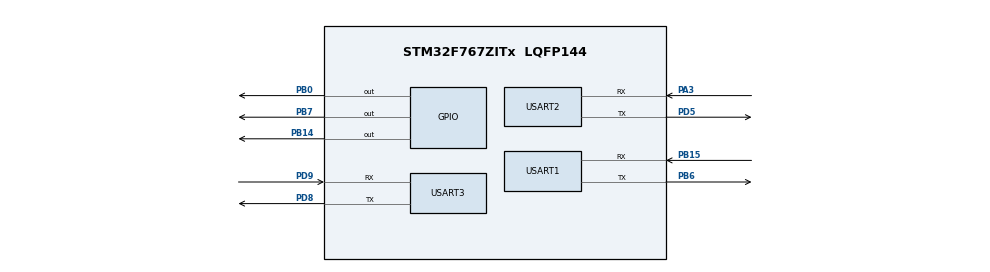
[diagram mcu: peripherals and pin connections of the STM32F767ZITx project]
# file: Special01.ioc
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CORTEX_M7.default_mode_Activation=1
Mcu.Family=STM32F7
Mcu.Name=STM32F767ZITx
Mcu.Package=LQFP144
NVIC.PriorityGroup=NVIC_PRIORITYGROUP_4
NVIC.USART1_IRQn=true\:0\:0\:false\:false\:true\:true\:true\:true
NVIC.USART2_IRQn=true\:0\:0\:false\:false\:true\:true\:true\:true
NVIC.USART3_IRQn=true\:0\:0\:false\:false\:true\:true\:true\:true
PA3.Mode=Asynchronous
PA3.Signal=USART2_RX
PB0.Signal=GPIO_Output
PB14.Signal=GPIO_Output
PB15.Mode=Asynchronous
PB15.Signal=USART1_RX
PB6.Mode=Asynchronous
PB6.Signal=USART1_TX
PB7.Signal=GPIO_Output
PD5.Mode=Asynchronous
PD5.Signal=USART2_TX
PD8.Mode=Asynchronous
PD8.Signal=USART3_TX
PD9.Mode=Asynchronous
PD9.Signal=USART3_RX
ProjectManager.HeapSize=0x200
ProjectManager.StackSize=0x400
ProjectManager.TargetToolchain=STM32CubeIDE
RCC.HSE_VALUE=25000000
RCC.HSI_VALUE=16000000
RCC.LSE_VALUE=32768
RCC.USBFreq_Value=96000000
RCC.VCOOutputFreq_Value=192000000
USART1.VirtualMode-Asynchronous=VM_ASYNC
USART2.VirtualMode-Asynchronous=VM_ASYNC
USART3.VirtualMode-Asynchronous=VM_ASYNC
board=custom

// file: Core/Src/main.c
/* USER CODE BEGIN Header */
/**
  ******************************************************************************
  * @file           : main.c
  * @brief          : Main program body
  ******************************************************************************
  * @attention
  *
  * Copyright (c) 2025 STMicroelectronics.
  * All rights reserved.
  *
  * This software is licensed under terms that can be found in the LICENSE file
  * in the root directory of this software component.
  * If no LICENSE file comes with this software, it is provided AS-IS.
  *
  ******************************************************************************
  */
/* USER CODE END Header */
#include "main.h"
#include "usart.h"
#include "gpio.h"

/* USER CODE BEGIN Includes */
#include <string.h>
#include <stdint.h>
#include <stdio.h>
uint8_t show_status = 0;
uint8_t RxData[100];
uint8_t inputstr [1];
uint8_t status = 1;
uint8_t showstr[100] = "";
//char showinstr[] = "Input :";
uint8_t recive_status = 1;
uint8_t transmit_status = 1;
uint8_t quit_mass[100] = "QUIT";
uint8_t setmyname_status = 0;
uint8_t setyourname_status = 0;
uint8_t Myname[100];
uint8_t Yourname[100];

/* USER CODE END Includes */

void SystemClock_Config(void);
static void MPU_Config(void);

/* USER CODE BEGIN 0 */
void HAL_UART_RxCpltCallback(UART_HandleTypeDef *huart) {
    if (status == 1) {
        if (recive_status == 1 && transmit_status == 0) {
            if (HAL_UART_Receive_IT(&huart1, RxData, 100) == HAL_OK) {
                if (strncmp((char *)RxData, "QUIT", 4) == 0) {  // ตรวจสอบว่าได้รับ "QUIT"
                    status = 0;  // ออกจากลูป
                    HAL_UART_Transmit(&huart3,"QUIT", 4, 1000);
                    return;
                }
                recive_status = 0;
                transmit_status = 1;
                setyourname_status += 1;
            }
        } else if (recive_status == 1 && transmit_status == 1) {
            if (HAL_UART_Receive_IT(&huart3, inputstr, 1) == HAL_OK) {
                Inputstr();
            }
        }
    }
}

void Inputstr(){
	HAL_UART_Transmit(&huart3,"\r", 2, 1000);
	showstatus();
	HAL_UART_Transmit(&huart3, showstr, 100, 1000);
	if(inputstr[0] == '\b'){
		showstr[strlen(showstr)-1] = '\000';
	}
	else if(inputstr[0] == '\r'){
		showstr[strlen(showstr)] = '\0';
		if(setmyname_status == 0){
			memcpy(Myname, showstr, sizeof(Myname));
			setmyname_status = 1;
		}
		HAL_UART_Transmit(&huart1,&showstr, 100, 100);
		HAL_UART_Transmit(&huart3,"\n\r", 2, 1000);
		memset(showstr, 0, sizeof(showstr));
		transmit_status = 0;
		show_status += 1;

	}
	else{
		HAL_UART_Transmit(&huart3,inputstr, 1, 1000);
		showstr[strlen(showstr)] = inputstr[0];
		if(showstr[0] == 'q'){
				HAL_UART_Transmit(&huart3,"\n\r", 2, 1000);
				HAL_UART_Transmit(&huart3,quit_mass,4, 1000);
				HAL_UART_Transmit(&huart1,quit_mass,100, 1000);
				status = 0;
		}
	//  HAL_UART_Transmit(&huart2, (uint8_t )&showstr, 1, 100);
	}

	memset(inputstr, 0, sizeof(inputstr));

}

void showstatus(){
	if(show_status == 0){
			HAL_UART_Transmit(&huart3,"Man From U.A.R.T.1!\n\r"
					  	  	  	  	  "Quit PRESS q \n\r", 35, 1000);
			show_status =1;
	}
	else if(show_status == 1){
			HAL_UART_Transmit(&huart3,"Name :", 6, 1000);
	}
	else if(show_status == 2){
			HAL_UART_Transmit(&huart3,Myname,100, 1000);
			HAL_UART_Transmit(&huart3," :", 2, 1000);

	}
	else if(show_status == 3){
			HAL_UART_Transmit(&huart3,Yourname,100, 1000);
			HAL_UART_Transmit(&huart3," :", 2, 1000);

	}
}

/* USER CODE END 0 */

int main(void)
{

  /* MPU Configuration--------------------------------------------------------*/
  MPU_Config();

  /* MCU Configuration--------------------------------------------------------*/

  /* Reset of all peripherals, Initializes the Flash interface and the Systick. */
  HAL_Init();

  /* Configure the system clock */
  SystemClock_Config();

  /* Initialize all configured peripherals */
  MX_GPIO_Init();
  MX_USART1_UART_Init();
  MX_USART2_UART_Init();
  MX_USART3_UART_Init();
  HAL_UART_Receive_IT(&huart1,RxData, 100);
  HAL_UART_Receive_IT(&huart3,inputstr, 1);

  /* Infinite loop */
  while (1)
  {

    /* USER CODE BEGIN 3 */

//	  HAL_UART_Receive(&huart1, RxData, 100, HAL_MAX_DELAY);
//	  HAL_UART_Transmit(&huart3, RxData, 100, HAL_MAX_DELAY);

//	  HAL_UART_Transmit(&huart1, (uint8_t *)".", 1, 100);
	  if(show_status == 0){
		  showstatus();
		  if(transmit_status == 1){
			  Inputstr();
		  }
	  }
	  if (recive_status == 0){
		  if(setyourname_status == 1){
			  memcpy(Yourname, RxData, sizeof(Yourname));
			  HAL_UART_Transmit(&huart3,"\r", 2, 1000);
			  HAL_UART_Transmit(&huart3, Yourname, 100, 1000);
			  HAL_UART_Transmit(&huart3, " is ready", 9, 1000);
			  HAL_UART_Transmit(&huart3,"\n\r", 2, 1000);
			  setyourname_status += 1;
			  show_status = 2;
			  memset(RxData, 0, sizeof(RxData));

		  }
		  else if(setyourname_status > 1){
			  HAL_UART_Transmit(&huart3,"\r", 2, 1000);
			  showstatus();
			  HAL_UART_Transmit(&huart3, RxData, 100, 1000);
			  HAL_UART_Transmit(&huart3,"\n\r", 2, 1000);
			  memset(RxData, 0, sizeof(RxData));
			  show_status -= 1;

		  }
		  if(transmit_status == 1){
			  Inputstr();
		  }
		  recive_status = 1;

	  }

	  if(transmit_status == 2){
	  		  HAL_UART_Transmit(&huart3,"\n\r", 2, 1000);
	  		  transmit_status = 0;
	  		  recive_status = 0;
	  }

  }
  /* USER CODE END 3 */
}

void SystemClock_Config(void)
{
  RCC_OscInitTypeDef RCC_OscInitStruct = {0};
  RCC_ClkInitTypeDef RCC_ClkInitStruct = {0};

  /** Configure the main internal regulator output voltage
  */
  __HAL_RCC_PWR_CLK_ENABLE();
  __HAL_PWR_VOLTAGESCALING_CONFIG(PWR_REGULATOR_VOLTAGE_SCALE3);

  /** Initializes the RCC Oscillators according to the specified parameters
  * in the RCC_OscInitTypeDef structure.
  */
  RCC_OscInitStruct.OscillatorType = RCC_OSCILLATORTYPE_HSI;
  RCC_OscInitStruct.HSIState = RCC_HSI_ON;
  RCC_OscInitStruct.HSICalibrationValue = RCC_HSICALIBRATION_DEFAULT;
  RCC_OscInitStruct.PLL.PLLState = RCC_PLL_NONE;
  if (HAL_RCC_OscConfig(&RCC_OscInitStruct) != HAL_OK)
  {
    Error_Handler();
  }

  /** Initializes the CPU, AHB and APB buses clocks
  */
  RCC_ClkInitStruct.ClockType = RCC_CLOCKTYPE_HCLK|RCC_CLOCKTYPE_SYSCLK
                              |RCC_CLOCKTYPE_PCLK1|RCC_CLOCKTYPE_PCLK2;
  RCC_ClkInitStruct.SYSCLKSource = RCC_SYSCLKSOURCE_HSI;
  RCC_ClkInitStruct.AHBCLKDivider = RCC_SYSCLK_DIV1;
  RCC_ClkInitStruct.APB1CLKDivider = RCC_HCLK_DIV1;
  RCC_ClkInitStruct.APB2CLKDivider = RCC_HCLK_DIV1;

  if (HAL_RCC_ClockConfig(&RCC_ClkInitStruct, FLASH_LATENCY_0) != HAL_OK)
  {
    Error_Handler();
  }
}

 /* MPU Configuration */

void MPU_Config(void)
{
  MPU_Region_InitTypeDef MPU_InitStruct = {0};

  /* Disables the MPU */
  HAL_MPU_Disable();

  /** Initializes and configures the Region and the memory to be protected
  */
  MPU_InitStruct.Enable = MPU_REGION_ENABLE;
  MPU_InitStruct.Number = MPU_REGION_NUMBER0;
  MPU_InitStruct.BaseAddress = 0x0;
  MPU_InitStruct.Size = MPU_REGION_SIZE_4GB;
  MPU_InitStruct.SubRegionDisable = 0x87;
  MPU_InitStruct.TypeExtField = MPU_TEX_LEVEL0;
  MPU_InitStruct.AccessPermission = MPU_REGION_NO_ACCESS;
  MPU_InitStruct.DisableExec = MPU_INSTRUCTION_ACCESS_DISABLE;
  MPU_InitStruct.IsShareable = MPU_ACCESS_SHAREABLE;
  MPU_InitStruct.IsCacheable = MPU_ACCESS_NOT_CACHEABLE;
  MPU_InitStruct.IsBufferable = MPU_ACCESS_NOT_BUFFERABLE;

  HAL_MPU_ConfigRegion(&MPU_InitStruct);
  /* Enables the MPU */
  HAL_MPU_Enable(MPU_PRIVILEGED_DEFAULT);

}

void Error_Handler(void)
{
  __disable_irq();
  while (1)
  {
  }
}
